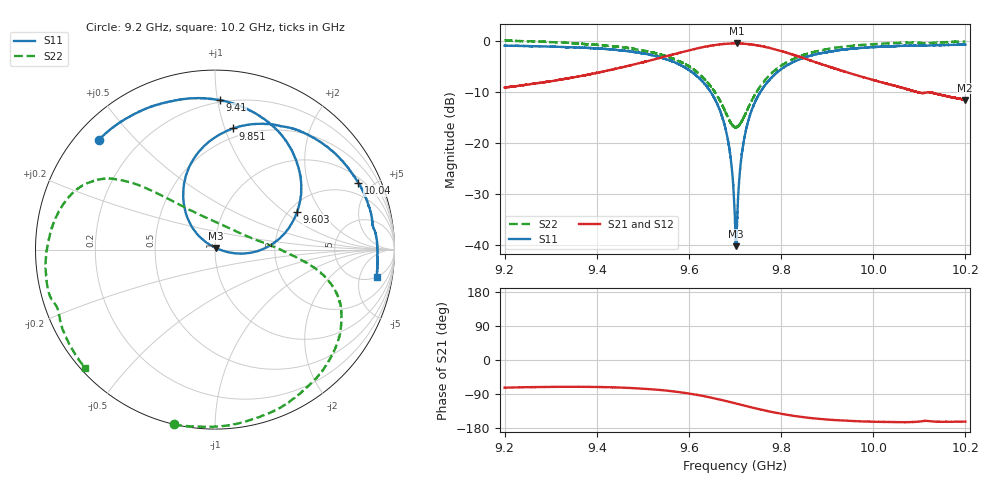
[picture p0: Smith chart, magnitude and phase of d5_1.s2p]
!Agilent Technologies,N5242A,MY51221714,A.09.90.19
!Agilent N5242A: A.09.90.19
!Date: Tuesday, March 26, 2024 16:15:55
!Correction: S11(Full 2 Port(1,2))
!S21(Full 2 Port(1,2))
!S12(Full 2 Port(1,2))
!S22(Full 2 Port(1,2))
!S2P File: Measurements: S11, S21, S12, S22:
# Hz S  dB  R 50
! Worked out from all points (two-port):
!   16001 points, 9.2 GHz to 10.2 GHz, reference 50 ohm
!   highest |S21| = -0.55 dB at 9.704 GHz (marker M1); lowest = -11.6 dB at 10.2 GHz (marker M2)
!   |S21| within 3 dB of the highest: 9.530711 GHz to 9.531077 GHz (366.2 kHz wide, 0.00384 % of centre); 9.531 GHz to 9.853 GHz (321.4 MHz wide, 3.32 % of centre)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
!   lowest |S11| = -40.2 dB at 9.702 GHz (marker M3), VSWR 1.02, Z = 50.4 + j0.896 ohm
!   |S11| at or under -10 dB: 9.647 GHz to 9.756 GHz (108.7 MHz wide, 1.12 % of centre)
!   |S22| runs from -17.0 to 0.0 dB; largest |S21 - S12| = 0.012
!   S11 on the Smith chart (normalised r, x): 9.2 GHz: 0.07, +0.40; 9.41 GHz: 0.19, +1.01; 9.603 GHz: 2.21, +1.25; 9.851 GHz: 0.42, +1.07; 10.04 GHz: 1.26, +4.14; 10.2 GHz: 5, -9
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9.2e9  -1.00 136.7  -9.19 -73.1  -9.15 -73.8  0.01 -103.3
9.366688e9  -1.38 99.2  -6.92 -70.8  -6.90 -71.4  -0.64 -59.0
9.409688e9  -1.59 88.2  -6.14 -71.4  -6.13 -72.1  -0.91 -48.4
9.533375e9  -3.19 51.4  -3.49 -78.7  -3.48 -79.3  -2.58 -21.6
9.60325e9  -5.95 24.7  -1.85 -89.0  -1.84 -89.7  -5.21 -9.7
9.644875e9  -9.71 6.1  -1.03 -98.4  -1.05 -99.0  -8.67 -0.2
9.672875e9  -15.14 -6.6  -0.69 -106.0  -0.68 -106.6  -12.73 14.0
9.689438e9  -22.15 -10.9  -0.57 -110.9  -0.57 -111.5  -15.85 36.6
9.7e9  -35.39 11.0  -0.56 -114.1  -0.55 -114.7  -16.91 60.7
9.702375e9  -40.21 65.7  -0.55 -114.8  -0.55 -115.4  -16.94 67.0
9.703938e9  -36.73 108.2  -0.55 -115.3  -0.55 -115.9  -16.82 70.7
9.711438e9  -24.94 140.0  -0.58 -117.7  -0.57 -118.2  -16.30 88.4
9.717562e9  -20.41 140.5  -0.61 -119.5  -0.59 -120.1  -15.32 100.2
9.741125e9  -12.50 130.7  -0.83 -126.6  -0.83 -127.2  -10.92 125.1
9.785625e9  -6.68 109.2  -1.68 -138.6  -1.69 -139.2  -5.91 138.0
9.850625e9  -3.32 81.6  -3.49 -151.2  -3.48 -151.8  -2.75 147.1
9.866688e9  -2.90 75.7  -3.98 -153.5  -3.99 -154.0  -2.34 149.5
9.934438e9  -1.77 53.5  -5.97 -159.9  -5.98 -160.5  -1.21 161.0
1.003338e10  -1.13 26.8  -8.53 -163.5  -8.52 -164.2  -0.53 -178.4
1.004075e10  -1.11 25.0  -8.70 -163.7  -8.70 -164.3  -0.50 -176.8
1.019975e10  -0.81 -9.7  -11.60 -162.5  -11.58 -163.1  -0.19 -137.6
1.02e10  -0.79 -9.8  -11.58 -162.6  -11.58 -163.2  -0.19 -137.6
